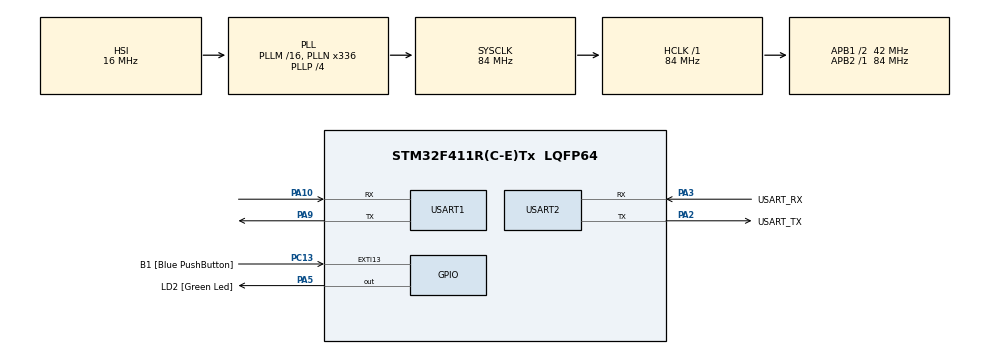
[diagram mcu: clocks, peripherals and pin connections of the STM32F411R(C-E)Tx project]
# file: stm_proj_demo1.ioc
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Mcu.Family=STM32F4
Mcu.Name=STM32F411R(C-E)Tx
Mcu.Package=LQFP64
NVIC.PriorityGroup=NVIC_PRIORITYGROUP_0
PA10.Mode=Asynchronous
PA10.Signal=USART1_RX
PA13.GPIO_Label=TMS
PA13.Mode=Serial_Wire
PA13.Signal=SYS_JTMS-SWDIO
PA14.GPIO_Label=TCK
PA14.Mode=Serial_Wire
PA14.Signal=SYS_JTCK-SWCLK
PA2.GPIO_Label=USART_TX
PA2.Mode=Asynchronous
PA2.Signal=USART2_TX
PA3.GPIO_Label=USART_RX
PA3.Mode=Asynchronous
PA3.Signal=USART2_RX
PA5.GPIO_Label=LD2 [Green Led]
PA5.Signal=GPIO_Output
PA9.Mode=Asynchronous
PA9.Signal=USART1_TX
PB3.GPIO_Label=SWO
PB3.Signal=SYS_JTDO-SWO
PC13-ANTI_TAMP.GPIO_Label=B1 [Blue PushButton]
PC13-ANTI_TAMP.GPIO_ModeDefaultEXTI=GPIO_MODE_IT_FALLING
PC13-ANTI_TAMP.Signal=GPXTI13
PC14-OSC32_IN.Mode=LSE-External-Oscillator
PC14-OSC32_IN.Signal=RCC_OSC32_IN
PC15-OSC32_OUT.Mode=LSE-External-Oscillator
PC15-OSC32_OUT.Signal=RCC_OSC32_OUT
PH0\ -\ OSC_IN.Mode=HSE-External-Clock-Source
PH0\ -\ OSC_IN.Signal=RCC_OSC_IN
PH1\ -\ OSC_OUT.Mode=HSE-External-Clock-Source
PH1\ -\ OSC_OUT.Signal=RCC_OSC_OUT
ProjectManager.HeapSize=0x200
ProjectManager.StackSize=0x400
ProjectManager.TargetToolchain=STM32CubeIDE
RCC.48MHZClocksFreq_Value=84000000
RCC.AHBFreq_Value=84000000
RCC.APB1CLKDivider=RCC_HCLK_DIV2
RCC.APB1Freq_Value=42000000
RCC.APB1TimFreq_Value=84000000
RCC.APB2Freq_Value=84000000
RCC.APB2TimFreq_Value=84000000
RCC.CortexFreq_Value=84000000
RCC.FLatency-AdvancedSettings=FLASH_LATENCY_2
RCC.HCLKFreq_Value=84000000
RCC.HSE_VALUE=8000000
RCC.HSI_VALUE=16000000
RCC.PLLN=336
RCC.PLLP=RCC_PLLP_DIV4
RCC.SYSCLKFreq_VALUE=84000000
RCC.SYSCLKSource=RCC_SYSCLKSOURCE_PLLCLK
RCC.VCOOutputFreq_Value=336000000
USART1.VirtualMode=VM_ASYNC
USART2.VirtualMode=VM_ASYNC
board=NUCLEO-F411RE

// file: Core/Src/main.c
/* USER CODE BEGIN Header */
/**
  ******************************************************************************
  * @file           : main.c
  * @brief          : Main program body
  ******************************************************************************
  * @attention
  *
  * Copyright (c) 2022 STMicroelectronics.
  * All rights reserved.
  *
  * This software is licensed under terms that can be found in the LICENSE file
  * in the root directory of this software component.
  * If no LICENSE file comes with this software, it is provided AS-IS.
  *
  ******************************************************************************
  */
/* USER CODE END Header */
#include "main.h"
#include <string.h>

 UART_HandleTypeDef huart1;
UART_HandleTypeDef huart2;

void SystemClock_Config(void);
static void MX_GPIO_Init(void);
static void MX_USART2_UART_Init(void);
static void MX_USART1_UART_Init(void);

int main(void)
{

  /* MCU Configuration--------------------------------------------------------*/

  /* Reset of all peripherals, Initializes the Flash interface and the Systick. */
  HAL_Init();

  /* Configure the system clock */
  SystemClock_Config();

  /* Initialize all configured peripherals */
  MX_GPIO_Init();
  MX_USART2_UART_Init();
  MX_USART1_UART_Init();
  /* USER CODE BEGIN 2 */

  uint8_t start[] = "STM Started ";
  uint8_t enter[] = "\r\n";
  HAL_UART_Transmit(&huart2, start,  sizeof(start), 1000);
  /* USER CODE END 2 */

  /* Infinite loop */
  /* USER CODE BEGIN WHILE */
  while (1)
  {
	  uint8_t data[1];
	  if(HAL_UART_Receive(&huart1, data, sizeof(data), 5000)==HAL_OK) {

		  uint8_t s[] = "This thing came ---> ";
		  HAL_UART_Transmit(&huart2, s,  strlen(s), 1000);

		  HAL_UART_Transmit(&huart2, data,  1, 1000);

		  HAL_UART_Transmit(&huart2, enter,  strlen(enter), 1000);

		  uint8_t t[] = "STM Transmit ---> ";
		  HAL_UART_Transmit(&huart2, t,  strlen(t), 1000);

		  if (data[0]=='l') {
			  uint8_t str[] = "l69";
			  HAL_UART_Transmit(&huart2, str,  strlen(str), 1000);
			  HAL_UART_Transmit(&huart1, str,  strlen(str), 1000);
		  }
		  else if (data[0]=='d') {
			  uint8_t str[] = "d69";
			  HAL_UART_Transmit(&huart2, str,  strlen(str), 1000);
			  HAL_UART_Transmit(&huart1, str,  strlen(str), 1000);
		  }
		  else if (data[0]=='D') {
			  uint8_t str[] = "D69";
			  HAL_UART_Transmit(&huart2, str,  strlen(str), 1000);
			  HAL_UART_Transmit(&huart1, str,  strlen(str), 1000);
		  }
		  else if (data[0]=='h') {
			  uint8_t str[] = "69";
			  HAL_UART_Transmit(&huart2, str,  strlen(str), 1000);
			  HAL_UART_Transmit(&huart1, str,  strlen(str), 1000);
		  }
		  HAL_UART_Transmit(&huart2, enter,  strlen(enter), 1000);

	  }

    /* USER CODE END WHILE */

  }
}

void SystemClock_Config(void)
{
  RCC_OscInitTypeDef RCC_OscInitStruct = {0};
  RCC_ClkInitTypeDef RCC_ClkInitStruct = {0};

  /** Configure the main internal regulator output voltage
  */
  __HAL_RCC_PWR_CLK_ENABLE();
  __HAL_PWR_VOLTAGESCALING_CONFIG(PWR_REGULATOR_VOLTAGE_SCALE1);

  /** Initializes the RCC Oscillators according to the specified parameters
  * in the RCC_OscInitTypeDef structure.
  */
  RCC_OscInitStruct.OscillatorType = RCC_OSCILLATORTYPE_HSI;
  RCC_OscInitStruct.HSIState = RCC_HSI_ON;
  RCC_OscInitStruct.HSICalibrationValue = RCC_HSICALIBRATION_DEFAULT;
  RCC_OscInitStruct.PLL.PLLState = RCC_PLL_ON;
  RCC_OscInitStruct.PLL.PLLSource = RCC_PLLSOURCE_HSI;
  RCC_OscInitStruct.PLL.PLLM = 16;
  RCC_OscInitStruct.PLL.PLLN = 336;
  RCC_OscInitStruct.PLL.PLLP = RCC_PLLP_DIV4;
  RCC_OscInitStruct.PLL.PLLQ = 4;
  if (HAL_RCC_OscConfig(&RCC_OscInitStruct) != HAL_OK)
  {
    Error_Handler();
  }

  /** Initializes the CPU, AHB and APB buses clocks
  */
  RCC_ClkInitStruct.ClockType = RCC_CLOCKTYPE_HCLK|RCC_CLOCKTYPE_SYSCLK
                              |RCC_CLOCKTYPE_PCLK1|RCC_CLOCKTYPE_PCLK2;
  RCC_ClkInitStruct.SYSCLKSource = RCC_SYSCLKSOURCE_PLLCLK;
  RCC_ClkInitStruct.AHBCLKDivider = RCC_SYSCLK_DIV1;
  RCC_ClkInitStruct.APB1CLKDivider = RCC_HCLK_DIV2;
  RCC_ClkInitStruct.APB2CLKDivider = RCC_HCLK_DIV1;

  if (HAL_RCC_ClockConfig(&RCC_ClkInitStruct, FLASH_LATENCY_2) != HAL_OK)
  {
    Error_Handler();
  }
}

static void MX_USART1_UART_Init(void)
{

  huart1.Instance = USART1;
  huart1.Init.BaudRate = 115200;
  huart1.Init.WordLength = UART_WORDLENGTH_8B;
  huart1.Init.StopBits = UART_STOPBITS_1;
  huart1.Init.Parity = UART_PARITY_NONE;
  huart1.Init.Mode = UART_MODE_TX_RX;
  huart1.Init.HwFlowCtl = UART_HWCONTROL_NONE;
  huart1.Init.OverSampling = UART_OVERSAMPLING_16;
  if (HAL_UART_Init(&huart1) != HAL_OK)
  {
    Error_Handler();
  }

}

static void MX_USART2_UART_Init(void)
{

  huart2.Instance = USART2;
  huart2.Init.BaudRate = 115200;
  huart2.Init.WordLength = UART_WORDLENGTH_8B;
  huart2.Init.StopBits = UART_STOPBITS_1;
  huart2.Init.Parity = UART_PARITY_NONE;
  huart2.Init.Mode = UART_MODE_TX_RX;
  huart2.Init.HwFlowCtl = UART_HWCONTROL_NONE;
  huart2.Init.OverSampling = UART_OVERSAMPLING_16;
  if (HAL_UART_Init(&huart2) != HAL_OK)
  {
    Error_Handler();
  }

}

static void MX_GPIO_Init(void)
{
  GPIO_InitTypeDef GPIO_InitStruct = {0};

  /* GPIO Ports Clock Enable */
  __HAL_RCC_GPIOC_CLK_ENABLE();
  __HAL_RCC_GPIOH_CLK_ENABLE();
  __HAL_RCC_GPIOA_CLK_ENABLE();
  __HAL_RCC_GPIOB_CLK_ENABLE();

  /*Configure GPIO pin Output Level */
  HAL_GPIO_WritePin(LD2_GPIO_Port, LD2_Pin, GPIO_PIN_RESET);

  /*Configure GPIO pin : B1_Pin */
  GPIO_InitStruct.Pin = B1_Pin;
  GPIO_InitStruct.Mode = GPIO_MODE_IT_FALLING;
  GPIO_InitStruct.Pull = GPIO_NOPULL;
  HAL_GPIO_Init(B1_GPIO_Port, &GPIO_InitStruct);

  /*Configure GPIO pin : LD2_Pin */
  GPIO_InitStruct.Pin = LD2_Pin;
  GPIO_InitStruct.Mode = GPIO_MODE_OUTPUT_PP;
  GPIO_InitStruct.Pull = GPIO_NOPULL;
  GPIO_InitStruct.Speed = GPIO_SPEED_FREQ_LOW;
  HAL_GPIO_Init(LD2_GPIO_Port, &GPIO_InitStruct);

}

void Error_Handler(void)
{
  __disable_irq();
  while (1)
  {
  }
}
